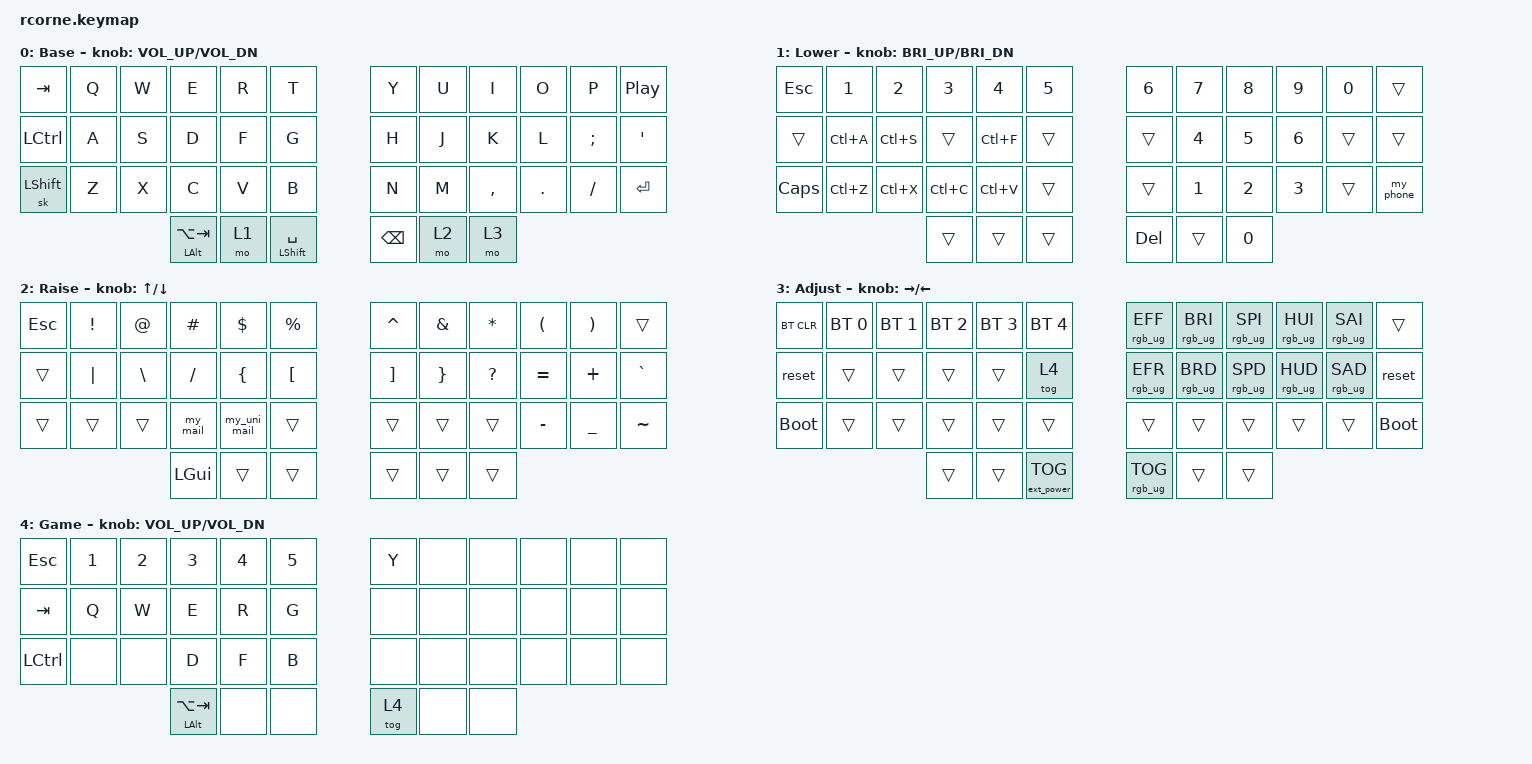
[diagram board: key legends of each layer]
/*
 * Copyright (c) 2020 The ZMK Contributors
 *
 * SPDX-License-Identifier: MIT
 */

#include <behaviors.dtsi>
#include <dt-bindings/zmk/keys.h>
#include <dt-bindings/zmk/bt.h>
#include <dt-bindings/zmk/ext_power.h>
#include <dt-bindings/zmk/rgb.h>

// Abbreviation 
#define NBF &kp LA(LS(F))       //Netbeans shortcut Format: Alt + Shift + B
#define GCR &kp LC(LA(G))       //Custom shortcut Google Chrome: Ctrol + Alt + G
#define ATB &mt LALT LA(TAB)    //Switch tab: Alt + Tab
#define SRC &kp LG(LS(S))       //Screen Capture: Gui + Shift + S


// Layers
#define LWR &mo 1
#define RSE &mo 2
#define ADJ &mo 3
#define GAME &tog 4

// Sticky key stays 2s
&sk {
    release-after-ms = <2000>;
};

// Mod-tap 
&mt {
    tapping-term-ms = <1500>;
};

#define MTSSP &mt LSHFT SPACE

// Macros 
/ {
    macros {
        
		ZMK_MACRO(my_phone,
			wait-ms = <30>;
			tap-ms = <40>;
			bindings = <&kp N0 &kp N5 &kp N8 &kp N9 &kp N3 &kp N8 &kp N5 &kp N2 &kp N9 &kp N0>;
    	)

		ZMK_MACRO(my_uni_mail,
			wait-ms = <30>;
			tap-ms = <40>;
			bindings = <&kp M &kp I &kp N &kp H &kp P &kp D &kp H &kp E &kp N1 &kp N6 &kp N1 &kp N6 &kp N5 &kp N2 &kp AT &kp F &kp P &kp T &kp DOT &kp E &kp D &kp U &kp DOT &kp V &kp N>;
    	)

		ZMK_MACRO(my_mail,
			wait-ms = <30>;
			tap-ms = <40>;
			bindings = <&kp T &kp H &kp A &kp N &kp D &kp O &kp C &kp T &kp O &kp AT &kp G &kp M &kp A &kp I &kp L &kp DOT &kp C &kp O &kp M>;
    	)

    };
};

#define PHONE &my_phone
#define UNIMAIL &my_uni_mail
#define MYMAIL &my_mail


/ {
        keymap {
                compatible = "zmk,keymap";

                default_layer {

// -------------------------------------   --------------------------------------
// | TAB |  Q  |  W  |  E  |  R  |  T  |   |  Y  |  U   |  I  |  O  |  P  | CPP |
// | CTL |  A  |  S  |  D  |  F  |  G  |   |  H  |  J   |  K  |  L  |  ;  |  '  |
// | SHT |  Z  |  X  |  C  |  V  |  B  |   |  N  |  M   |  ,  |  .  |  /  | RET |
// ------------------| ATB | LWR | SPC |   | BKP | RSE  | ADJ |------------------
//                   \------------------   -------------------/
                   
                        label = "Base";
                        bindings = <
   &kp TAB   &kp Q &kp W &kp E &kp R &kp T     &kp Y &kp U  &kp I     &kp O   &kp P    &kp C_PP
   &kp LCTRL &kp A &kp S &kp D &kp F &kp G     &kp H &kp J  &kp K     &kp L   &kp SEMI &kp SQT
   &sk LSHFT &kp Z &kp X &kp C &kp V &kp B     &kp N &kp M  &kp COMMA &kp DOT &kp FSLH &kp RET
                         ATB   LWR   MTSSP     &kp BSPC RSE ADJ
                        >;

                        sensor-bindings = <&inc_dec_kp C_VOL_UP C_VOL_DN>;

                };
                
                lower_layer {

// -------------------------------------   -------------------------------------
// | ESC |  1  |  2  |  3  |  4  |  5  |   |  6  |  7  |  8  |  9  |  0  |     |
// |     | SLA |SAVE |     | SER | GCR |   |     |  4  |  5  |  6  |     |     |
// |CAPS |UNDO | CUT | CPY |PASTE|     |   |     |  1  |  2  |  3  |     |     |
// ------------------|     |     |     |   | DEL |     |  0  |------------------
//                   \------------------   ------------------/

                        label = "Lower";
                        bindings = <
   &kp ESC  &kp N1    &kp N2    &kp N3    &kp N4    &kp N5  &kp N6  &kp N7 &kp N8 &kp N9 &kp N0 &trans
   &trans   &kp LC(A) &kp LC(S) &trans    &kp LC(F) &trans  &trans  &kp N4 &kp N5 &kp N6 &trans &trans
   &kp CAPS &kp LC(Z) &kp LC(X) &kp LC(C) &kp LC(V) &trans  &trans  &kp N1 &kp N2 &kp N3 &trans PHONE
                               	&trans    &trans    &trans  &kp DEL &trans &kp N0      
                        >;

                        sensor-bindings = <&inc_dec_kp C_BRI_UP C_BRI_DN>;
                };

                raise_layer {

// -------------------------------------   -------------------------------------
// | ESC |  !  |  @  |  #  |  $  |  %  |   |  ^  |  &  |  *  |  (  |  )  |     |
// |     |  |  |  \  |  /  |  {  |  [  |   |  ]  |  }  |  ?  |  =  |  +  |  `  |
// |     |     |     |     |     |     |   |     |     |     |  -  |  _  |  ~  |
// ------------------| GUI |     |     |   |     |     |     |------------------
//                   \-----------------   -------------------/
                        
                        label = "Raise";
                        bindings = <
   &kp ESC &kp EXCL &kp AT   &kp HASH &kp DLLR  &kp PRCNT &kp CARET &kp AMPS &kp STAR  &kp LPAR  &kp RPAR &trans
   &trans  &kp PIPE &kp BSLH &kp FSLH &kp LBRC  &kp LBKT  &kp RBKT  &kp RBRC &kp QMARK &kp EQUAL &kp PLUS &kp GRAVE
   &trans  &trans   &trans   MYMAIL   UNIMAIL   &trans    &trans    &trans   &trans    &kp MINUS &kp UNDER &kp TILDE
                    	     &kp LGUI &trans    &trans    &trans    &trans   &trans
                        >;

                        sensor-bindings = <&inc_dec_kp UP DOWN>;
                };

                adjust_layer {

// --------------------------------------   -------------------------------------
// | BTCLR| BT1 | BT2 | BT3 | BT4 | BT5 |   | EFF | BRI | SPI | HUI | SAI |     |
// | RST  |     |     |     |     |     |   | EFR | BRD | SPD | HUD | SAD | RST |
// | BLD  |     |     |     |     |     |   |     |     |     |     |     | BLD |
// -------------------|     |     | ETG |   | LTG |     |     |------------------
//                    \------------------   ------------------/
     
                        label = "Adjust";
                        bindings = <
   &bt BT_CLR  &bt BT_SEL 0 &bt BT_SEL 1 &bt BT_SEL 2 &bt BT_SEL 3 &bt BT_SEL 4  &rgb_ug RGB_EFF &rgb_ug RGB_BRI &rgb_ug RGB_SPI &rgb_ug RGB_HUI &rgb_ug RGB_SAI &trans
   &reset      &trans     &trans         &trans       &trans       GAME           &rgb_ug RGB_EFR &rgb_ug RGB_BRD &rgb_ug RGB_SPD &rgb_ug RGB_HUD &rgb_ug RGB_SAD &reset
   &bootloader &trans     &trans         &trans       &trans       &trans        &trans          &trans          &trans          &trans          &trans          &bootloader
                                         &trans       &trans   &ext_power EP_TOG &rgb_ug RGB_TOG &trans          &trans
                        >;

                        sensor-bindings = <&inc_dec_kp RIGHT LEFT>;
                };

                game_layer {

// -------------------------------------   -------------------------------------
// | ESC |  1  |  2  |  3  |  4  |  5  |   |  Y  |     |     |     |     |     |
// | TAB |  Q  |  W  |  E  |  R  | GAM |   |     |     |     |     |     |     |
// | CTL |     |     |  D  |  F  |  B  |   |     |     |     |     |     |     |
// ------------------| ATB |     |     |   |     |     |     |------------------
//                   \------------------   ------------------/
     
                        label = "Game";
                        bindings = <
   &kp ESC   &kp N1 &kp N2 &kp N3 &kp N4 &kp N5 &kp Y &none &none &none &none &none
   &kp TAB   &kp Q  &kp W  &kp E  &kp R  &kp G  &none &none &none &none &none &none
   &kp LCTRL &none  &none  &kp D  &kp F  &kp B  &none &none &none &none &none &none
                    ATB    &none  &none  GAME  &none &none
                        >;

                        sensor-bindings = <&inc_dec_kp C_VOL_UP C_VOL_DN>;
                };

        };
};
